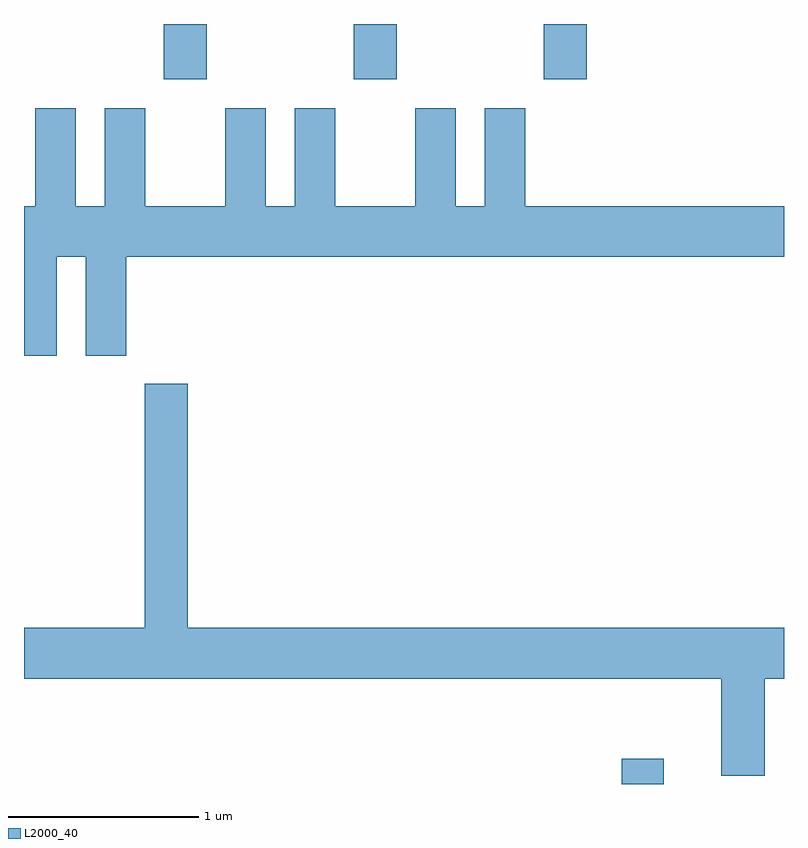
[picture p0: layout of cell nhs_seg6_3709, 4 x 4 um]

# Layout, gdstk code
import gdstk
lib = gdstk.Library(unit=1e-6, precision=1e-09)
def R(c, l, rs):  # rectangles x0, y0, x1, y1
    for r in rs: c.add(gdstk.rectangle(r[:2], r[2:], *l))
def A(c, l, x, y, w, h, nx, ny, dx, dy):  # array of equal rectangles
    R(c, l, [(x+i*dx, y+j*dy, x+i*dx+w, y+j*dy+h) for i in range(nx) for j in range(ny)])
def P(c, l, *ps):  # polygons
    for p in ps: c.add(gdstk.Polygon(p, *l))
L2000_40 = (2000, 40)

nhs_seg6_3709 = lib.new_cell('nhs_seg6_3709')
A(nhs_seg6_3709, L2000_40, 298.346, 1539.871, 0.228, 0.291, 3, 1, 1, 0)
R(nhs_seg6_3709, L2000_40, [(300.756,1536.162,300.979,1536.294)])
P(nhs_seg6_3709, L2000_40, [(297.784,1538.936),(297.936,1538.936),(297.936,1538.416),(298.149,1538.416),(298.149,1538.936),(301.611,1538.936),(301.611,1539.204),(300.249,1539.204),(300.249,1539.719),(300.036,1539.719),(300.036,1539.204),(299.884,1539.204),(299.884,1539.719),(299.671,1539.719),(299.671,1539.204),(299.249,1539.204),(299.249,1539.719),(299.036,1539.719),(299.036,1539.204),(298.884,1539.204),(298.884,1539.719),(298.671,1539.719),(298.671,1539.204),(298.249,1539.204),(298.249,1539.719),(298.036,1539.719),(298.036,1539.204),(297.884,1539.204),(297.884,1539.719),(297.671,1539.719),(297.671,1539.204),(297.611,1539.204),(297.611,1538.416),(297.784,1538.416)],
  [(301.509,1536.716),(301.611,1536.716),(301.611,1536.984),(298.474,1536.984),(298.474,1538.269),(298.246,1538.269),(298.246,1536.984),(297.611,1536.984),(297.611,1536.716),(301.281,1536.716),(301.281,1536.206),(301.509,1536.206)])

lib.write_gds('nhs_seg6_3709.gds')
